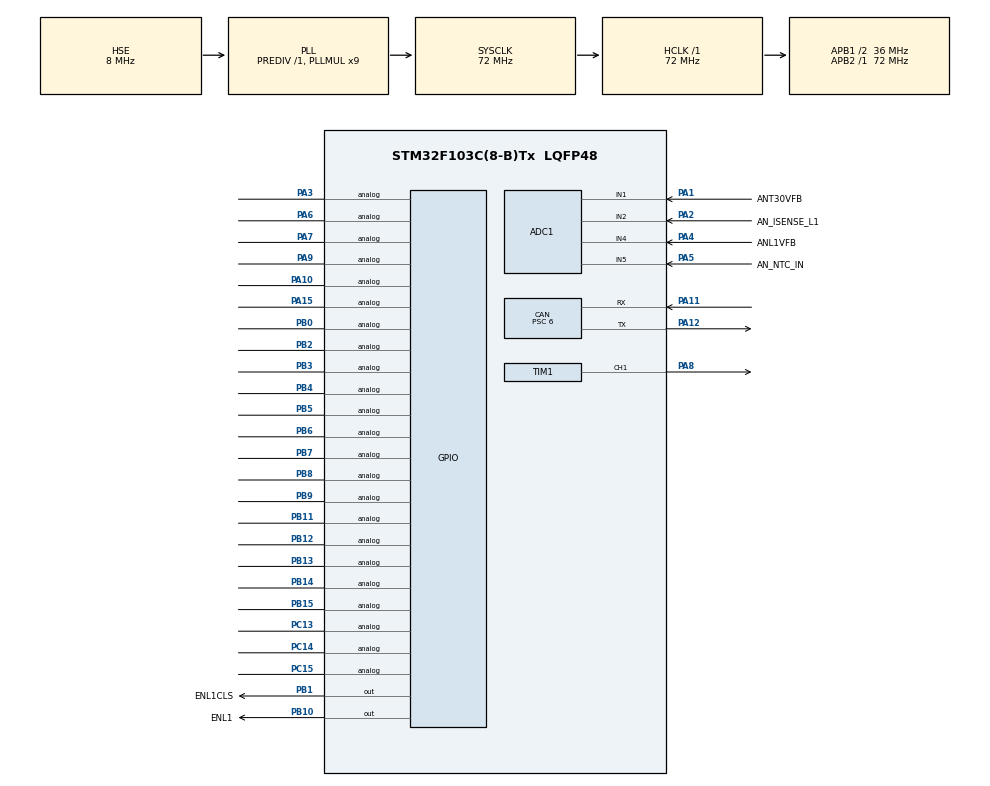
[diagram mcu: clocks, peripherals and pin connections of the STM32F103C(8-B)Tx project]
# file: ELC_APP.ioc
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ADC1.AWD1HighThreshold=4095
ADC1.AWD1ITMode=ENABLE
ADC1.AWD1LowThreshold=1100
ADC1.Channel-0\#ChannelRegularConversion=ADC_CHANNEL_1
ADC1.Channel-1\#ChannelRegularConversion=ADC_CHANNEL_2
ADC1.Channel-2\#ChannelRegularConversion=ADC_CHANNEL_4
ADC1.Channel-4\#ChannelRegularConversion=ADC_CHANNEL_5
ADC1.Channel-5\#ChannelRegularConversion=ADC_CHANNEL_TEMPSENSOR
ADC1.ContinuousConvMode=DISABLE
ADC1.DiscontinuousConvMode=DISABLE
ADC1.EnableAnalogWatchDog=true
ADC1.EnableInjectedConversion=DISABLE
ADC1.EnableRegularConversion=ENABLE
ADC1.NbrOfConversion=5
ADC1.NbrOfConversionFlag=1
ADC1.Rank-0\#ChannelRegularConversion=1
ADC1.Rank-1\#ChannelRegularConversion=2
ADC1.Rank-2\#ChannelRegularConversion=3
ADC1.Rank-4\#ChannelRegularConversion=4
ADC1.Rank-5\#ChannelRegularConversion=5
ADC1.SamplingTime-0\#ChannelRegularConversion=ADC_SAMPLETIME_239CYCLES_5
ADC1.SamplingTime-1\#ChannelRegularConversion=ADC_SAMPLETIME_239CYCLES_5
ADC1.SamplingTime-2\#ChannelRegularConversion=ADC_SAMPLETIME_239CYCLES_5
ADC1.SamplingTime-4\#ChannelRegularConversion=ADC_SAMPLETIME_239CYCLES_5
ADC1.SamplingTime-5\#ChannelRegularConversion=ADC_SAMPLETIME_239CYCLES_5
ADC1.WatchdogChannel=ADC_CHANNEL_4
ADC1.WatchdogMode=ADC_ANALOGWATCHDOG_SINGLE_REG
ADC1.master=1
CAN.ABOM=ENABLE
CAN.AWUM=ENABLE
CAN.BS1=CAN_BS1_8TQ
CAN.BS2=CAN_BS2_3TQ
CAN.CalculateBaudRate=499999
CAN.CalculateTimeBit=2000
CAN.CalculateTimeQuantum=166.66666666666669
CAN.Mode=CAN_MODE_NORMAL
CAN.NART=ENABLE
CAN.Prescaler=6
CAN.RFLM=ENABLE
CAN.TTCM=ENABLE
CAN.TXFP=ENABLE
Dma.ADC1.0.Direction=DMA_PERIPH_TO_MEMORY
Dma.ADC1.0.Instance=DMA1_Channel1
Dma.ADC1.0.MemDataAlignment=DMA_MDATAALIGN_HALFWORD
Dma.ADC1.0.MemInc=DMA_MINC_ENABLE
Dma.ADC1.0.Mode=DMA_NORMAL
Dma.ADC1.0.PeriphDataAlignment=DMA_PDATAALIGN_HALFWORD
Dma.ADC1.0.PeriphInc=DMA_PINC_DISABLE
Dma.ADC1.0.Priority=DMA_PRIORITY_VERY_HIGH
Dma.Request0=ADC1
FREERTOS.HEAP_NUMBER=5
FREERTOS.INCLUDE_eTaskGetState=0
FREERTOS.INCLUDE_pcTaskGetTaskName=0
FREERTOS.INCLUDE_uxTaskGetStackHighWaterMark=0
FREERTOS.INCLUDE_uxTaskPriorityGet=1
FREERTOS.INCLUDE_vTaskCleanUpResources=0
FREERTOS.INCLUDE_vTaskDelayUntil=0
FREERTOS.INCLUDE_vTaskDelete=0
FREERTOS.INCLUDE_vTaskPrioritySet=0
FREERTOS.INCLUDE_vTaskSuspend=1
FREERTOS.INCLUDE_xEventGroupSetBitFromISR=0
FREERTOS.INCLUDE_xQueueGetMutexHolder=0
FREERTOS.INCLUDE_xSemaphoreGetMutexHolder=0
FREERTOS.INCLUDE_xTaskAbortDelay=0
FREERTOS.INCLUDE_xTaskGetCurrentTaskHandle=0
FREERTOS.INCLUDE_xTaskGetHandle=1
FREERTOS.INCLUDE_xTaskGetSchedulerState=0
FREERTOS.INCLUDE_xTaskResumeFromISR=0
FREERTOS.INCLUDE_xTimerPendFunctionCall=0
FREERTOS.Tasks01=QM_BSW,45,272,QM_BSW_TASK,Default,NULL,Dynamic,NULL,NULL;QM_APPL,44,272,QM_APPL_TASK,Default,NULL,Dynamic,NULL,NULL;QM_DIAG,16,872,QM_DIAG_TASK,Default,NULL,Dynamic,NULL,NULL;CPULOAD_OS,8,128,CPULOAD_OS_TASK,Default,NULL,Dynamic,NULL,NULL
FREERTOS.Timers01=Alarm5ms,Alarm5ms_Callback,osTimerPeriodic,Default,NULL,Dynamic,NULL
FREERTOS.configCHECK_FOR_STACK_OVERFLOW=2
FREERTOS.configENABLE_BACKWARD_COMPATIBILITY=1
FREERTOS.configGENERATE_RUN_TIME_STATS=1
FREERTOS.configIDLE_SHOULD_YIELD=0
FREERTOS.configMAX_TASK_NAME_LEN=255
FREERTOS.configQUEUE_REGISTRY_SIZE=0
FREERTOS.configRECORD_STACK_HIGH_ADDRESS=1
FREERTOS.configTIMER_TASK_PRIORITY=53
FREERTOS.configTIMER_TASK_STACK_DEPTH=128
FREERTOS.configTOTAL_HEAP_SIZE=9216
FREERTOS.configUSE_APPLICATION_TASK_TAG=1
FREERTOS.configUSE_DAEMON_TASK_STARTUP_HOOK=0
FREERTOS.configUSE_IDLE_HOOK=1
FREERTOS.configUSE_MALLOC_FAILED_HOOK=1
FREERTOS.configUSE_NEWLIB_REENTRANT=1
FREERTOS.configUSE_STATS_FORMATTING_FUNCTIONS=1
FREERTOS.configUSE_TASK_NOTIFICATIONS=1
FREERTOS.configUSE_TICK_HOOK=1
Mcu.Family=STM32F1
Mcu.Name=STM32F103C(8-B)Tx
Mcu.Package=LQFP48
NVIC.ADC1_2_IRQn=true\:9\:0\:true\:true\:true\:13\:true\:true\:true\:true
NVIC.CAN1_RX1_IRQn=true\:7\:0\:true\:true\:true\:3\:true\:true\:true\:true
NVIC.CAN1_SCE_IRQn=true\:11\:0\:true\:true\:true\:4\:true\:true\:true\:true
NVIC.DMA1_Channel1_IRQn=true\:10\:0\:true\:true\:true\:8\:true\:false\:true\:true
NVIC.FLASH_IRQn=true\:15\:0\:true\:true\:true\:6\:true\:true\:true\:true
NVIC.PVD_IRQn=true\:7\:0\:true\:true\:true\:7\:true\:true\:true\:true
NVIC.PriorityGroup=NVIC_PRIORITYGROUP_4
NVIC.RCC_IRQn=true\:15\:0\:true\:true\:true\:5\:true\:true\:false\:true
NVIC.TIM1_BRK_IRQn=true\:15\:0\:true\:true\:true\:12\:true\:true\:true\:true
NVIC.TIM1_CC_IRQn=true\:15\:0\:true\:true\:true\:9\:true\:true\:true\:true
NVIC.TIM1_TRG_COM_IRQn=true\:15\:0\:true\:true\:true\:10\:true\:true\:true\:true
NVIC.TIM1_UP_IRQn=true\:15\:0\:true\:true\:true\:11\:true\:true\:true\:true
NVIC.TIM3_IRQn=true\:5\:0\:true\:true\:true\:15\:true\:true\:true\:true
NVIC.TIM4_IRQn=true\:15\:0\:true\:false\:true\:false\:false\:true\:true
NVIC.TimeBase=TIM4_IRQn
NVIC.TimeBaseIP=TIM4
NVIC.USB_HP_CAN1_TX_IRQn=true\:7\:0\:true\:true\:true\:1\:true\:true\:true\:true
NVIC.USB_LP_CAN1_RX0_IRQn=true\:8\:0\:true\:true\:true\:2\:true\:true\:true\:true
PA0-WKUP.Mode=SYS_WakeUp0
PA0-WKUP.Signal=SYS_WKUP
PA1.GPIO_Label=ANT30VFB
PA1.Signal=ADCx_IN1
PA10.Signal=GPIO_Analog
PA11.GPIO_PuPd=GPIO_PULLUP
PA11.Mode=CAN_Activate
PA11.Signal=CAN_RX
PA12.Mode=CAN_Activate
PA12.Signal=CAN_TX
PA13.Mode=Serial_Wire
PA13.Signal=SYS_JTMS-SWDIO
PA14.Mode=Serial_Wire
PA14.Signal=SYS_JTCK-SWCLK
PA15.Signal=GPIO_Analog
PA2.GPIO_Label=AN_ISENSE_L1
PA2.Signal=ADCx_IN2
PA3.Signal=GPIO_Analog
PA4.GPIO_Label=ANL1VFB
PA4.Signal=ADCx_IN4
PA5.GPIO_Label=AN_NTC_IN
PA5.Signal=ADCx_IN5
PA6.Signal=GPIO_Analog
PA7.Signal=GPIO_Analog
PA8.GPIO_Speed=GPIO_SPEED_FREQ_HIGH
PA8.Signal=S_TIM1_CH1
PA9.Signal=GPIO_Analog
PB0.Signal=GPIO_Analog
PB1.GPIO_Label=ENL1CLS
PB1.GPIO_PuPd=GPIO_PULLDOWN
PB1.GPIO_Speed=GPIO_SPEED_FREQ_HIGH
PB1.PinState=GPIO_PIN_RESET
PB1.Signal=GPIO_Output
PB10.GPIO_Label=ENL1
PB10.GPIO_PuPd=GPIO_PULLDOWN
PB10.GPIO_Speed=GPIO_SPEED_FREQ_HIGH
PB10.Signal=GPIO_Output
PB11.Signal=GPIO_Analog
PB12.Signal=GPIO_Analog
PB13.Signal=GPIO_Analog
PB14.Signal=GPIO_Analog
PB15.Signal=GPIO_Analog
PB2.Signal=GPIO_Analog
PB3.Signal=GPIO_Analog
PB4.Signal=GPIO_Analog
PB5.Signal=GPIO_Analog
PB6.Signal=GPIO_Analog
PB7.Signal=GPIO_Analog
PB8.Signal=GPIO_Analog
PB9.Signal=GPIO_Analog
PC13-TAMPER-RTC.Signal=GPIO_Analog
PC14-OSC32_IN.Signal=GPIO_Analog
PC15-OSC32_OUT.Signal=GPIO_Analog
PD0-OSC_IN.Mode=HSE-External-Oscillator
PD0-OSC_IN.Signal=RCC_OSC_IN
PD1-OSC_OUT.Mode=HSE-External-Oscillator
PD1-OSC_OUT.Signal=RCC_OSC_OUT
ProjectManager.HeapSize=0x190
ProjectManager.StackSize=0x190
ProjectManager.TargetToolchain=STM32CubeIDE
RCC.ADCPresc=RCC_ADCPCLK2_DIV6
RCC.AHBFreq_Value=72000000
RCC.APB1CLKDivider=RCC_HCLK_DIV2
RCC.APB1Freq_Value=36000000
RCC.APB1TimFreq_Value=72000000
RCC.APB2Freq_Value=72000000
RCC.APB2TimFreq_Value=72000000
RCC.HCLKFreq_Value=72000000
RCC.PLLMUL=RCC_PLL_MUL9
RCC.PLLSourceVirtual=RCC_PLLSOURCE_HSE
RCC.SYSCLKFreq_VALUE=72000000
RCC.SYSCLKSource=RCC_SYSCLKSOURCE_PLLCLK
RCC.USBFreq_Value=72000000
SH.ADCx_IN1.0=ADC1_IN1,IN1
SH.ADCx_IN2.0=ADC1_IN2,IN2
SH.ADCx_IN4.0=ADC1_IN4,IN4
SH.ADCx_IN5.0=ADC1_IN5,IN5
SH.S_TIM1_CH1.0=TIM1_CH1,PWM Generation1 CH1
TIM1.Channel-PWM\ Generation1\ CH1=TIM_CHANNEL_1
TIM1.Period=1027
TIM1.Prescaler=0
TIM1.Pulse-PWM\ Generation1\ CH1=514
TIM3.Period=999
TIM3.Prescaler=99
VP_ADC1_TempSens_Input.Mode=IN-TempSens
VP_CRC_VS_CRC.Mode=CRC_Activate
VP_FREERTOS_VS_CMSIS_V2.Mode=CMSIS_V2
VP_SYS_VS_tim4.Mode=TIM4
VP_TIM3_VS_ClockSourceINT.Mode=Internal
board=custom

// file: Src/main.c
/* USER CODE BEGIN Header */
/* USER CODE END Header */
#include "main.h"
#include "cmsis_os.h"
#include "adc.h"
#include "can.h"
#include "crc.h"
#include "dma.h"
#include "tim.h"
#include "gpio.h"

/* USER CODE BEGIN Includes */
#include <stdint.h>
#include <stdlib.h>
#include <math.h>
#include <stdbool.h>
#include "NvM.h"
#include "SMon.h"
#include "EcuM.h"
#include "Dcm.h"
#include "Dem.h"
#include "CanH.h"
#include "../BSW/Com/Can/Can.h"
#include "../BSW/Com/CanTp/CanTp.h"
#include "../BSW/Com/PduR/PduR.h"
#include "../BSW/Com/CanIf/CanIf.h"
#include "../BSW/Com/Com/Com.h"
#include "../BSW/Com/CanNm/CanNm.h"
#include "../BSW/Com/CanSM/CanSM.h"
#include "../BSW/Com/ComM/ComM.h"
/* USER CODE END Includes */

/* USER CODE BEGIN PV */
uint16_t Ain_DmaBuffer[5u];
/* USER CODE END PV */

void SystemClock_Config(void);
void MX_FREERTOS_Init(void);
static void MX_NVIC_Init(void);

/* USER CODE BEGIN 0 */
void HAL_ADC_ConvCpltCallback(ADC_HandleTypeDef* hadc)
{
	static float v1 = 0.0f;
	static float v4 = 0.0f;
	static float v5 = 0.0f;
	static float aux_isense = 0.0f;
	static float vfb1_mV = 0.0f;
	static float vfb2_mV = 0.0f;
	static float ln_ratio = 0.0f;
	static float inv_T = 0.0f;
	static float T_kelvin = 0.0f;
	static float aux_isense2 = 0.0f;
	static float filt_isense2 = 0.0f;
	static float aux_mcutemp = 0.0f;
	static float aux_ntctemp = 0.0f;
	const float ADC_MAX = (float)SMon_P_ADC_MaxValue;
	const float VREF = SMon_P_Varef;
	const float EPS = 1e-3f;

	float adc1 = ((float)Ain_DmaBuffer[1u] / ADC_MAX) * VREF;
	float adc3 = ((float)Ain_DmaBuffer[3u] / ADC_MAX) * 3.3f;
	float adc4 = ((float)Ain_DmaBuffer[4u] / ADC_MAX) * VREF;

	if (adc3 >= (5.0f - EPS))
	{
		adc3 = 5.0f - EPS;
	}
	else if (adc3 < 0.0f)
	{
		adc3 = 0.0f;
	}
	else
	{
		/* Do nothing. */
	}

	v1 = adc1;
	v5 = adc4;

	float denom = (5.0f - adc3);

	bool ntc_valid = false;
	ln_ratio = 0.0f;   /* deterministic reset every cycle */

	if (denom > EPS)
	{
		v4 = SMon_P_NTC_PullUp_ResistorVale * adc3 / denom;

		if (v4 > EPS)
		{
			ln_ratio = logf(v4 / (float)SMon_P_NTC_L1_TwoPointCalibration_ParamA);
			ntc_valid = true;
		}
		else
		{
			ntc_valid = false;
		}
	}
	else
	{
		v4 = 0.0f;
		ntc_valid = false;
	}

	if (ntc_valid == true)
	{
		inv_T = (1.0f / SMon_P_RoomTempKelvin) +
				(ln_ratio / (float)SMon_P_NTC_L1_TwoPointCalibration_ParamB);

		if (inv_T > EPS)
		{
			T_kelvin = 1.0f / inv_T;
		}
		else
		{
			T_kelvin = SMon_P_RoomTempKelvin;
		}
	}
	else
	{
		T_kelvin = SMon_P_RoomTempKelvin;
	}

	vfb1_mV = SMon_P_VFB_L1_TwoPointCalibration_ParamA * Ain_DmaBuffer[2u] +
			SMon_P_VFB_L1_TwoPointCalibration_ParamB;
	vfb2_mV = SMon_P_VFB_T30_TwoPointCalibration_ParamA * Ain_DmaBuffer[0u] +
			SMon_P_VFB_T30_TwoPointCalibration_ParamB;
	aux_isense = (v1 - SMon_P_TwoPointCalib_NoLoad_ISense) *
			SMon_P_TwoPointCalib_ConvFacISense;
	aux_isense2 = aux_isense;
	filt_isense2 = filt_isense2 +
			SMon_P_AlphaFilterExtChIsense * (aux_isense2 - filt_isense2);

	if (SMon_PeakCurrent < fabsf(aux_isense))
	{
		SMon_PeakCurrent = fabsf(aux_isense);
	}
	else
	{
		/* Do nothing. */
	}

	SMon_ISenseL1_ExtChISense = filt_isense2 / 1000.0f;
	SMon_ISenseL1_Float = aux_isense / 1000.0f;
	SMon_ISenseL1 = aux_isense;
	SMon_VfbL1 = vfb1_mV;
	SMon_VfbT30 = vfb2_mV;
	aux_mcutemp = ((SMon_P_VoltsAt25 - v5) / SMon_P_AvgSlope) +
			SMon_P_RoomTemperature;
	aux_ntctemp = T_kelvin - SMon_P_Kelvin;
	SMon_NTC_Temperature_L1 =
			SMon_NTC_Temperature_L1 +
			SMon_P_AlphaFilter *
			(aux_ntctemp - SMon_NTC_Temperature_L1);
	SMon_McuTempValue =
			SMon_McuTempValue +
			SMon_P_AlphaFilter *
			(aux_mcutemp - SMon_McuTempValue);
}

void HAL_ADC_ErrorCallback(ADC_HandleTypeDef *hadc)
{
	if(0u != hadc->ErrorCode)
	{
		SMon_ISenseL1 = 0xFFFFu;
		SMon_VfbL1 = 0xFFFFu;
		SMon_VfbT30 = 0xFFFFu;
		SMon_NTC_Temperature_L1 = 1e9f;
		SMon_McuTempValue = 1e9f;
		EcuM_PerformReset(125u, 125u);
	}
	else
	{
		/* Do nothing. */
	}
}
/* USER CODE END 0 */

int main(void)
{

  /* MCU Configuration--------------------------------------------------------*/

  /* Reset of all peripherals, Initializes the Flash interface and the Systick. */
  HAL_Init();

  /* USER CODE BEGIN Init */

	PWR_PVDTypeDef sConfigPVD;

	sConfigPVD.Mode = PWR_PVD_MODE_IT_FALLING;
	sConfigPVD.PVDLevel = PWR_PVDLEVEL_0;

  /* USER CODE END Init */

  /* Configure the system clock */
  SystemClock_Config();

  /* Initialize all configured peripherals */
  MX_GPIO_Init();
  MX_DMA_Init();
  MX_ADC1_Init();
  MX_TIM1_Init();
  MX_CAN_Init();
  MX_CRC_Init();
  MX_TIM3_Init();
	Can_Init();
	CanIf_Init(NULL_PTR);
	CanTp_Init(NULL_PTR);
	PduR_Init(NULL_PTR);
	Com_Init();
	CanNm_Init();
	CanSM_Init();
	ComM_Init();
	CanH_Init();

  /* Initialize interrupts */
  MX_NVIC_Init();
  /* USER CODE BEGIN 2 */
	HAL_TIM_PWM_Start(&htim1, TIM_CHANNEL_1);

	htim1.Instance->CCR1 = 0;

	HAL_PWR_ConfigPVD(&sConfigPVD);

	HAL_PWR_EnablePVD();

	HAL_ADC_Stop(&hadc1);

	HAL_ADCEx_Calibration_Start(&hadc1);

	HAL_ADC_Start_DMA(&hadc1, (uint32_t*)Ain_DmaBuffer, 5u);

	EcuM_Init();

	/* The retained window is undefined after a Standby wake-up and after a software version change. */
	uint8_t clearRetained = (ECUM_WKSOURCE_NONE != EcuM_GetWakeupReason());

	for(uint8_t i = 0u; i < 4u; i++)
	{
		if(EcuM_SWV[i] != EcuM_SoftwareVersion[i])
		{
			clearRetained = 1u;
		}
		else
		{
			/* Do nothing. */
		}
	}

	if(0u != clearRetained)
	{
		for(uint32_t* addr = ((uint32_t*)0x20004fc0); addr <= ((uint32_t*)0x20004fff); addr++)
		{
			*addr = 0;
		}
	}
	else
	{
		/* Do nothing. */
	}

	Dcm_Init(NULL_PTR);
	NvM_Init();
	NvM_ReadAll();
	Dem_Init(NULL_PTR);
	SMon_CalibInit();

	__enable_irq();
  /* USER CODE END 2 */

  /* Init scheduler */
  osKernelInitialize();

  /* Call init function for freertos objects (in cmsis_os2.c) */
  MX_FREERTOS_Init();

  /* Start scheduler */
  osKernelStart();

  /* We should never get here as control is now taken by the scheduler */

  /* Infinite loop */
	while (1)
	{

	}
}

void SystemClock_Config(void)
{
  RCC_OscInitTypeDef RCC_OscInitStruct = {0};
  RCC_ClkInitTypeDef RCC_ClkInitStruct = {0};
  RCC_PeriphCLKInitTypeDef PeriphClkInit = {0};

  /** Initializes the RCC Oscillators according to the specified parameters
  * in the RCC_OscInitTypeDef structure.
  */
  RCC_OscInitStruct.OscillatorType = RCC_OSCILLATORTYPE_HSE;
  RCC_OscInitStruct.HSEState = RCC_HSE_ON;
  RCC_OscInitStruct.HSEPredivValue = RCC_HSE_PREDIV_DIV1;
  RCC_OscInitStruct.HSIState = RCC_HSI_ON;
  RCC_OscInitStruct.PLL.PLLState = RCC_PLL_ON;
  RCC_OscInitStruct.PLL.PLLSource = RCC_PLLSOURCE_HSE;
  RCC_OscInitStruct.PLL.PLLMUL = RCC_PLL_MUL9;
  if (HAL_RCC_OscConfig(&RCC_OscInitStruct) != HAL_OK)
  {
    Error_Handler();
  }

  /** Initializes the CPU, AHB and APB buses clocks
  */
  RCC_ClkInitStruct.ClockType = RCC_CLOCKTYPE_HCLK|RCC_CLOCKTYPE_SYSCLK
                              |RCC_CLOCKTYPE_PCLK1|RCC_CLOCKTYPE_PCLK2;
  RCC_ClkInitStruct.SYSCLKSource = RCC_SYSCLKSOURCE_PLLCLK;
  RCC_ClkInitStruct.AHBCLKDivider = RCC_SYSCLK_DIV1;
  RCC_ClkInitStruct.APB1CLKDivider = RCC_HCLK_DIV2;
  RCC_ClkInitStruct.APB2CLKDivider = RCC_HCLK_DIV1;

  if (HAL_RCC_ClockConfig(&RCC_ClkInitStruct, FLASH_LATENCY_2) != HAL_OK)
  {
    Error_Handler();
  }
  PeriphClkInit.PeriphClockSelection = RCC_PERIPHCLK_ADC;
  PeriphClkInit.AdcClockSelection = RCC_ADCPCLK2_DIV6;
  if (HAL_RCCEx_PeriphCLKConfig(&PeriphClkInit) != HAL_OK)
  {
    Error_Handler();
  }
}

/**
  * @brief NVIC Configuration.
  * @retval None
  */
static void MX_NVIC_Init(void)
{
  /* USB_HP_CAN1_TX_IRQn interrupt configuration */
  HAL_NVIC_SetPriority(USB_HP_CAN1_TX_IRQn, 7, 0);
  HAL_NVIC_EnableIRQ(USB_HP_CAN1_TX_IRQn);
  /* USB_LP_CAN1_RX0_IRQn interrupt configuration */
  HAL_NVIC_SetPriority(USB_LP_CAN1_RX0_IRQn, 8, 0);
  HAL_NVIC_EnableIRQ(USB_LP_CAN1_RX0_IRQn);
  /* CAN1_RX1_IRQn interrupt configuration */
  HAL_NVIC_SetPriority(CAN1_RX1_IRQn, 7, 0);
  HAL_NVIC_EnableIRQ(CAN1_RX1_IRQn);
  /* CAN1_SCE_IRQn interrupt configuration */
  HAL_NVIC_SetPriority(CAN1_SCE_IRQn, 11, 0);
  HAL_NVIC_EnableIRQ(CAN1_SCE_IRQn);
  /* RCC_IRQn interrupt configuration */
  HAL_NVIC_SetPriority(RCC_IRQn, 15, 0);
  HAL_NVIC_EnableIRQ(RCC_IRQn);
  /* FLASH_IRQn interrupt configuration */
  HAL_NVIC_SetPriority(FLASH_IRQn, 15, 0);
  HAL_NVIC_EnableIRQ(FLASH_IRQn);
  /* PVD_IRQn interrupt configuration */
  HAL_NVIC_SetPriority(PVD_IRQn, 7, 0);
  HAL_NVIC_EnableIRQ(PVD_IRQn);
  /* DMA1_Channel1_IRQn interrupt configuration */
  HAL_NVIC_SetPriority(DMA1_Channel1_IRQn, 10, 0);
  HAL_NVIC_EnableIRQ(DMA1_Channel1_IRQn);
  /* TIM1_CC_IRQn interrupt configuration */
  HAL_NVIC_SetPriority(TIM1_CC_IRQn, 15, 0);
  HAL_NVIC_EnableIRQ(TIM1_CC_IRQn);
  /* TIM1_TRG_COM_IRQn interrupt configuration */
  HAL_NVIC_SetPriority(TIM1_TRG_COM_IRQn, 15, 0);
  HAL_NVIC_EnableIRQ(TIM1_TRG_COM_IRQn);
  /* TIM1_UP_IRQn interrupt configuration */
  HAL_NVIC_SetPriority(TIM1_UP_IRQn, 15, 0);
  HAL_NVIC_EnableIRQ(TIM1_UP_IRQn);
  /* TIM1_BRK_IRQn interrupt configuration */
  HAL_NVIC_SetPriority(TIM1_BRK_IRQn, 15, 0);
  HAL_NVIC_EnableIRQ(TIM1_BRK_IRQn);
  /* ADC1_2_IRQn interrupt configuration */
  HAL_NVIC_SetPriority(ADC1_2_IRQn, 9, 0);
  HAL_NVIC_EnableIRQ(ADC1_2_IRQn);
  /* TIM3_IRQn interrupt configuration */
  HAL_NVIC_SetPriority(TIM3_IRQn, 5, 0);
  HAL_NVIC_EnableIRQ(TIM3_IRQn);
}

void HAL_TIM_PeriodElapsedCallback(TIM_HandleTypeDef *htim)
{
  if (htim->Instance == TIM4) {
    HAL_IncTick();
  }
}

void Error_Handler(void)
{
  /* USER CODE BEGIN Error_Handler_Debug */
	/* User can add his own implementation to report the HAL error return state */
	EcuM_PerformReset(196, 196);
  /* USER CODE END Error_Handler_Debug */
}

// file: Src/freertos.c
/* USER CODE BEGIN Header */
/* USER CODE END Header */

#include "FreeRTOS.h"
#include "task.h"
#include "main.h"
#include "cmsis_os.h"

/* USER CODE BEGIN Includes */
#include "SMon.h"
#include "Dcm.h"
#include "EcuM.h"
#include "CanH.h"
#include "adc.h"
#include "tim.h"
#include "Dem.h"
#include "NvM.h"
#include "../BSW/Com/Can/Can.h"
#include "../BSW/Com/CanTp/CanTp.h"
#include "../BSW/Com/Com/Com.h"
#include "../BSW/Com/CanNm/CanNm.h"
#include "../BSW/Com/CanSM/CanSM.h"
#include "../BSW/Com/ComM/ComM.h"
/* USER CODE END Includes */

/* USER CODE BEGIN Variables */
static TaskStatus_t xTaskStatusArray[7];
static UBaseType_t uxArraySize;
uint8_t OS_IdleIndex = 0u;
uint8_t OS_XCP_U8_CPU_Load = 0u;
volatile uint32_t oscnt = 0u;
uint32_t ulTotalRunTime_G = 0u;
uint32_t localTaskCounter = 0u;
float OS_XCP_CpuLoad = 0.0f;
float OS_IdleRunTime = 0.0f;
float OS_DeltaIdleRunTime = 0.0f;
float OS_CpuLoad  = 0.0f;
float OS_AverageCpuLoad  = 0.0f;
volatile unsigned long ulHighFrequencyTimerTicks = 0u;
long long idlecnt = 0u;
long long OS_Counter = 0u;
long long IDLE_Counter = 0u;
/* USER CODE END Variables */
/* Definitions for QM_BSW */
osThreadId_t QM_BSWHandle;
const osThreadAttr_t QM_BSW_attributes = {
  .name = "QM_BSW",
  .stack_size = 272 * 4,
  .priority = (osPriority_t) osPriorityHigh5,
};
/* Definitions for QM_APPL */
osThreadId_t QM_APPLHandle;
const osThreadAttr_t QM_APPL_attributes = {
  .name = "QM_APPL",
  .stack_size = 272 * 4,
  .priority = (osPriority_t) osPriorityHigh4,
};
/* Definitions for QM_DIAG */
osThreadId_t QM_DIAGHandle;
const osThreadAttr_t QM_DIAG_attributes = {
  .name = "QM_DIAG",
  .stack_size = 872 * 4,
  .priority = (osPriority_t) osPriorityBelowNormal,
};
/* Definitions for CPULOAD_OS */
osThreadId_t CPULOAD_OSHandle;
const osThreadAttr_t CPULOAD_OS_attributes = {
  .name = "CPULOAD_OS",
  .stack_size = 128 * 4,
  .priority = (osPriority_t) osPriorityLow,
};
/* Definitions for Alarm5ms */
osTimerId_t Alarm5msHandle;
const osTimerAttr_t Alarm5ms_attributes = {
  .name = "Alarm5ms"
};

void QM_BSW_TASK(void *argument);
void QM_APPL_TASK(void *argument);
void QM_DIAG_TASK(void *argument);
void CPULOAD_OS_TASK(void *argument);
void Alarm5ms_Callback(void *argument);

void MX_FREERTOS_Init(void); /* (MISRA C 2004 rule 8.1) */

/* Hook prototypes */
void configureTimerForRunTimeStats(void);
unsigned long getRunTimeCounterValue(void);
void vApplicationIdleHook(void);
void vApplicationTickHook(void);
void vApplicationStackOverflowHook(xTaskHandle xTask, signed char *pcTaskName);
void vApplicationMallocFailedHook(void);

/* USER CODE BEGIN 1 */

void configureTimerForRunTimeStats(void)
{
	ulHighFrequencyTimerTicks = 0;
	HAL_TIM_Base_Start_IT(&htim3);
}

unsigned long getRunTimeCounterValue(void)
{
	return ulHighFrequencyTimerTicks;
}

/* USER CODE END 1 */

/* USER CODE BEGIN 2 */

void vApplicationIdleHook( void )
{
	idlecnt++;
	uxArraySize = uxTaskGetSystemState(xTaskStatusArray, 7, &ulTotalRunTime_G);
}

/* USER CODE END 2 */

/* USER CODE BEGIN 3 */
void vApplicationTickHook( void )
{
	oscnt++;

	if (EcuM_SWState < ECUM_STATE_SLEEP)
	{
		uint32_t adcState = HAL_ADC_GetState(&hadc1);

		if ((adcState & HAL_ADC_STATE_REG_BUSY) == 0u)
		{
			if (HAL_ADC_Start_DMA(&hadc1, (uint32_t*)Ain_DmaBuffer, 5u) != HAL_OK)
			{
				/* do nothing */
			}
		}
		else
		{
			/* do nothing */
		}
	}
	else
	{
		/* do nothing */
	}
}

/* USER CODE END 3 */

/* USER CODE BEGIN 4 */

void vApplicationStackOverflowHook(TaskHandle_t xTask, signed char *pcTaskName)
{
	EcuM_PerformReset(203, 203);
}

/* USER CODE END 4 */

/* USER CODE BEGIN 5 */

void vApplicationMallocFailedHook(void)
{
	EcuM_PerformReset(204, 204);
}

/* USER CODE END 5 */

void MX_FREERTOS_Init(void) {

  /* Create the timer(s) */
  /* creation of Alarm5ms */
  Alarm5msHandle = osTimerNew(Alarm5ms_Callback, osTimerPeriodic, NULL, &Alarm5ms_attributes);

  /* Create the thread(s) */
  /* creation of QM_BSW */
  QM_BSWHandle = osThreadNew(QM_BSW_TASK, NULL, &QM_BSW_attributes);

  /* creation of QM_APPL */
  QM_APPLHandle = osThreadNew(QM_APPL_TASK, NULL, &QM_APPL_attributes);

  /* creation of QM_DIAG */
  QM_DIAGHandle = osThreadNew(QM_DIAG_TASK, NULL, &QM_DIAG_attributes);

  /* creation of CPULOAD_OS */
  CPULOAD_OSHandle = osThreadNew(CPULOAD_OS_TASK, NULL, &CPULOAD_OS_attributes);

  /* USER CODE BEGIN RTOS_THREADS */
	osTimerStart(Alarm5msHandle, 5);
  /* USER CODE END RTOS_THREADS */

}

void QM_BSW_TASK(void *argument)
{
  /* USER CODE BEGIN QM_BSW_TASK */
	/* Infinite loop */
	TickType_t wake=xTaskGetTickCount();
	for(;;)
	{
		EcuM_MainFunction();
		CanNm_MainFunction();
		ComM_MainFunction();
		CanSM_MainFunction();
		Com_MainFunctionRx();
		CanH_MainFunction();
		Com_MainFunctionTx();
		vTaskDelayUntil(&wake,pdMS_TO_TICKS(5));
	}
  /* USER CODE END QM_BSW_TASK */
}

void QM_APPL_TASK(void *argument)
{
  /* USER CODE BEGIN QM_APPL_TASK */
	/* Infinite loop */
	TickType_t wake=xTaskGetTickCount();
	for(;;)
	{
		SMon_main();
		vTaskDelayUntil(&wake,pdMS_TO_TICKS(5));
	}
  /* USER CODE END QM_APPL_TASK */
}

void QM_DIAG_TASK(void *argument)
{
  /* USER CODE BEGIN QM_DIAG_TASK */
	/* Infinite loop */
	TickType_t wake=xTaskGetTickCount();
	uint32_t diagCycle=0;
	for(;;)
	{
		Can_MainFunction_Read();
		Can_MainFunction_Write();
		Can_MainFunction_BusOff();
		Xcp_MainFunction();
		if((diagCycle++ % 5u)==0u)
		{
			CanTp_MainFunction();
			Dcm_MainFunction();
			Dem_MainFunction();
			if(CanTp_IsIdle())NvM_MainFunction();
		}
		vTaskDelayUntil(&wake,pdMS_TO_TICKS(1));
	}
  /* USER CODE END QM_DIAG_TASK */
}

void CPULOAD_OS_TASK(void *argument)
{
  /* USER CODE BEGIN CPULOAD_OS_TASK */
	for(;;)
	{
		localTaskCounter++;

		OS_DeltaIdleRunTime = xTaskStatusArray[OS_IdleIndex].ulRunTimeCounter - OS_IdleRunTime;

		if (ulHighFrequencyTimerTicks != 0u)
		{
			uint32_t idle_permille = (OS_DeltaIdleRunTime * 1000u) / ulHighFrequencyTimerTicks;

			if (idle_permille > 1000u)
			{
				idle_permille = 1000u;
			}
			else
			{
				/* Do nothing. */
			}

			OS_CpuLoad = 100u - (idle_permille / 10u);
		}
		else
		{
			/* Do nothing. */
		}

		OS_AverageCpuLoad += OS_CpuLoad;
		ulHighFrequencyTimerTicks = 0u;
		OS_IdleRunTime = xTaskStatusArray[OS_IdleIndex].ulRunTimeCounter;

		if(localTaskCounter % 12u == 0u && 0u != localTaskCounter)
		{
			OS_XCP_CpuLoad = OS_AverageCpuLoad / 12; /* Calculate CPU load value every 480 milliseconds. */
			OS_XCP_U8_CPU_Load = (uint8_t)OS_XCP_CpuLoad;
			OS_AverageCpuLoad = 0u;
		}
		else
		{
			/* Do nothing. */
		}

		vTaskSuspend(NULL);
	}
  /* USER CODE END CPULOAD_OS_TASK */
}

/* Alarm5ms_Callback function */
void Alarm5ms_Callback(void *argument)
{
  /* USER CODE BEGIN Alarm5ms_Callback */

	static uint32_t counter = 0u;

	counter++;

	if(counter % 8u == 0u && counter != 0u)
	{
		vTaskResume(CPULOAD_OSHandle);
	}
	else
	{
		/* Do nothing. */
	}

  /* USER CODE END Alarm5ms_Callback */
}
